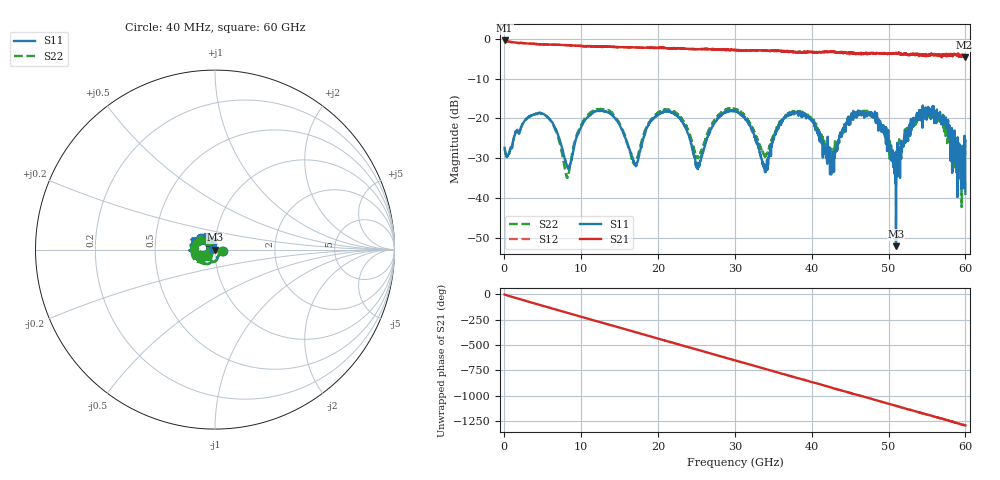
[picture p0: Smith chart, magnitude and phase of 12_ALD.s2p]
! File created by 'SoftPlot +Plus+ Measurement Management Software'
! SoftPlot +Plus+ Measurement Management Software
! Start 40.000000 MHz  Stop 60.000000 GHz  Points 1601
# MHZ S RI R 50
! S-Parameter data, F S11 S21 S12 S22
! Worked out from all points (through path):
!   1601 points, 40 MHz to 60 GHz, reference 50 ohm
!   highest |S21| = -0.43 dB at 40 MHz (marker M1); lowest = -4.7 dB at 59.89 GHz (marker M2)
!   group delay of S21, straight-line fit = 59.6 ps
!   lowest |S11| = -52.2 dB at 50.97 GHz (marker M3), VSWR 1.00, Z = 50.2 + j0.0193 ohm
!   |S11| at or under -10 dB: start of sweep to end of sweep
!   |S22| runs from -42.3 to -17.5 dB; largest |S21 - S12| = 0.052
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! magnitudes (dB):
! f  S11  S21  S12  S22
! 40 MHz  -27.4  -0.4  -0.4  -27.6
! 4.837 GHz  -18.8  -1.4  -1.4  -18.8
! 8.21 GHz  -32.2  -1.6  -1.6  -34.8
! 10.05 GHz  -22.0  -1.9  -1.8  -21.6
! 13.79 GHz  -18.9  -2.0  -2.0  -18.3
! 16.94 GHz  -31.5  -2.2  -2.2  -31.7
! 20.05 GHz  -19.0  -2.4  -2.3  -18.5
! 22.94 GHz  -20.3  -2.3  -2.5  -19.9
! 25.19 GHz  -32.8  -2.7  -2.6  -29.7
! 27.55 GHz  -20.7  -2.8  -2.6  -19.9
! 30.02 GHz  -18.2  -2.8  -2.8  -17.6
! 33.95 GHz  -31.8  -3.0  -3.0  -28.9
! 36.43 GHz  -19.8  -3.2  -3.1  -20.0
! 40.03 GHz  -20.6  -3.3  -3.4  -20.2
! 42.65 GHz  -30.8  -3.2  -3.2  -28.5
! 45.98 GHz  -18.4  -3.7  -3.6  -18.9
! 50.03 GHz  -25.5  -3.7  -3.7  -26.7
! 50.97 GHz  -52.2  -3.5  -3.5  -35.1
! 55.09 GHz  -18.7  -4.3  -4.3  -19.7
! 57.45 GHz  -19.8  -4.0  -3.9  -23.3
! 59.89 GHz  -24.4  -4.7  -4.2  -36.6
! 60 GHz  -39.0  -4.2  -4.3  -25.4
